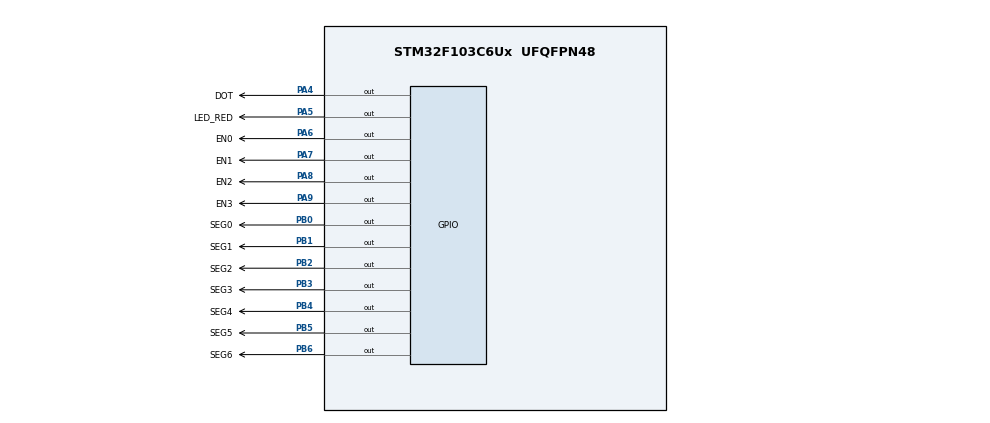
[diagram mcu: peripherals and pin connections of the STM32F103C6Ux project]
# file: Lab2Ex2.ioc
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Mcu.Family=STM32F1
Mcu.Name=STM32F103C6Ux
Mcu.Package=UFQFPN48
NVIC.PriorityGroup=NVIC_PRIORITYGROUP_4
NVIC.TIM2_IRQn=true\:0\:0\:false\:false\:true\:true\:true
PA4.GPIO_Label=DOT
PA4.Signal=GPIO_Output
PA5.GPIO_Label=LED_RED
PA5.Signal=GPIO_Output
PA6.GPIO_Label=EN0
PA6.Signal=GPIO_Output
PA7.GPIO_Label=EN1
PA7.Signal=GPIO_Output
PA8.GPIO_Label=EN2
PA8.Signal=GPIO_Output
PA9.GPIO_Label=EN3
PA9.Signal=GPIO_Output
PB0.GPIO_Label=SEG0
PB0.Signal=GPIO_Output
PB1.GPIO_Label=SEG1
PB1.Signal=GPIO_Output
PB2.GPIO_Label=SEG2
PB2.Signal=GPIO_Output
PB3.GPIO_Label=SEG3
PB3.Signal=GPIO_Output
PB4.GPIO_Label=SEG4
PB4.Signal=GPIO_Output
PB5.GPIO_Label=SEG5
PB5.Signal=GPIO_Output
PB6.GPIO_Label=SEG6
PB6.Signal=GPIO_Output
ProjectManager.HeapSize=0x200
ProjectManager.StackSize=0x400
ProjectManager.TargetToolchain=STM32CubeIDE
RCC.APB1Freq_Value=8000000
RCC.APB2Freq_Value=8000000
TIM2.Period=9
TIM2.Prescaler=7999
VP_SYS_VS_ND.Mode=No_Debug
VP_TIM2_VS_ClockSourceINT.Mode=Internal
board=custom

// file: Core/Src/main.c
/* USER CODE BEGIN Header */
/**
  ******************************************************************************
  * @file           : main.c
  * @brief          : Main program body
  ******************************************************************************
  * @attention
  *
  * <h2><center>&copy; Copyright (c) 2025 STMicroelectronics.
  * All rights reserved.</center></h2>
  *
  * This software component is licensed by ST under BSD 3-Clause license,
  * the "License"; You may not use this file except in compliance with the
  * License. You may obtain a copy of the License at:
  *                        opensource.org/licenses/BSD-3-Clause
  *
  ******************************************************************************
  */
/* USER CODE END Header */
#include "main.h"

TIM_HandleTypeDef htim2;

void SystemClock_Config(void);
static void MX_GPIO_Init(void);
static void MX_TIM2_Init(void);

/* USER CODE BEGIN 0 */

// 7SEG DISPLAY
void display7SEG(int num) {
	switch(num) {
		case 0:
			HAL_GPIO_WritePin(SEG0_GPIO_Port, SEG0_Pin, GPIO_PIN_RESET);
			HAL_GPIO_WritePin(SEG1_GPIO_Port, SEG1_Pin, GPIO_PIN_RESET);
			HAL_GPIO_WritePin(SEG2_GPIO_Port, SEG2_Pin, GPIO_PIN_RESET);
			HAL_GPIO_WritePin(SEG3_GPIO_Port, SEG3_Pin, GPIO_PIN_RESET);
			HAL_GPIO_WritePin(SEG4_GPIO_Port, SEG4_Pin, GPIO_PIN_RESET);
			HAL_GPIO_WritePin(SEG5_GPIO_Port, SEG5_Pin, GPIO_PIN_RESET);
			HAL_GPIO_WritePin(SEG6_GPIO_Port, SEG6_Pin, GPIO_PIN_SET);
			break;
		case 1:
			HAL_GPIO_WritePin(SEG0_GPIO_Port, SEG0_Pin, GPIO_PIN_SET);
			HAL_GPIO_WritePin(SEG1_GPIO_Port, SEG1_Pin, GPIO_PIN_RESET);
			HAL_GPIO_WritePin(SEG2_GPIO_Port, SEG2_Pin, GPIO_PIN_RESET);
			HAL_GPIO_WritePin(SEG3_GPIO_Port, SEG3_Pin, GPIO_PIN_SET);
			HAL_GPIO_WritePin(SEG4_GPIO_Port, SEG4_Pin, GPIO_PIN_SET);
			HAL_GPIO_WritePin(SEG5_GPIO_Port, SEG5_Pin, GPIO_PIN_SET);
			HAL_GPIO_WritePin(SEG6_GPIO_Port, SEG6_Pin, GPIO_PIN_SET);
			break;
		case 2:
			HAL_GPIO_WritePin(SEG0_GPIO_Port, SEG0_Pin, GPIO_PIN_RESET);
			HAL_GPIO_WritePin(SEG1_GPIO_Port, SEG1_Pin, GPIO_PIN_RESET);
			HAL_GPIO_WritePin(SEG2_GPIO_Port, SEG2_Pin, GPIO_PIN_SET);
			HAL_GPIO_WritePin(SEG3_GPIO_Port, SEG3_Pin, GPIO_PIN_RESET);
			HAL_GPIO_WritePin(SEG4_GPIO_Port, SEG4_Pin, GPIO_PIN_RESET);
			HAL_GPIO_WritePin(SEG5_GPIO_Port, SEG5_Pin, GPIO_PIN_SET);
			HAL_GPIO_WritePin(SEG6_GPIO_Port, SEG6_Pin, GPIO_PIN_RESET);
			break;
		case 3:
			HAL_GPIO_WritePin(SEG0_GPIO_Port, SEG0_Pin, GPIO_PIN_RESET);
			HAL_GPIO_WritePin(SEG1_GPIO_Port, SEG1_Pin, GPIO_PIN_RESET);
			HAL_GPIO_WritePin(SEG2_GPIO_Port, SEG2_Pin, GPIO_PIN_RESET);
			HAL_GPIO_WritePin(SEG3_GPIO_Port, SEG3_Pin, GPIO_PIN_RESET);
			HAL_GPIO_WritePin(SEG4_GPIO_Port, SEG4_Pin, GPIO_PIN_SET);
			HAL_GPIO_WritePin(SEG5_GPIO_Port, SEG5_Pin, GPIO_PIN_SET);
			HAL_GPIO_WritePin(SEG6_GPIO_Port, SEG6_Pin, GPIO_PIN_RESET);
			break;
		case 4:
			HAL_GPIO_WritePin(SEG0_GPIO_Port, SEG0_Pin, GPIO_PIN_SET);
			HAL_GPIO_WritePin(SEG1_GPIO_Port, SEG1_Pin, GPIO_PIN_RESET);
			HAL_GPIO_WritePin(SEG2_GPIO_Port, SEG2_Pin, GPIO_PIN_RESET);
			HAL_GPIO_WritePin(SEG3_GPIO_Port, SEG3_Pin, GPIO_PIN_SET);
			HAL_GPIO_WritePin(SEG4_GPIO_Port, SEG4_Pin, GPIO_PIN_SET);
			HAL_GPIO_WritePin(SEG5_GPIO_Port, SEG5_Pin, GPIO_PIN_RESET);
			HAL_GPIO_WritePin(SEG6_GPIO_Port, SEG6_Pin, GPIO_PIN_RESET);
			break;
		case 5:
			HAL_GPIO_WritePin(SEG0_GPIO_Port, SEG0_Pin, GPIO_PIN_RESET);
			HAL_GPIO_WritePin(SEG1_GPIO_Port, SEG1_Pin, GPIO_PIN_SET);
			HAL_GPIO_WritePin(SEG2_GPIO_Port, SEG2_Pin, GPIO_PIN_RESET);
			HAL_GPIO_WritePin(SEG3_GPIO_Port, SEG3_Pin, GPIO_PIN_RESET);
			HAL_GPIO_WritePin(SEG4_GPIO_Port, SEG4_Pin, GPIO_PIN_SET);
			HAL_GPIO_WritePin(SEG5_GPIO_Port, SEG5_Pin, GPIO_PIN_RESET);
			HAL_GPIO_WritePin(SEG6_GPIO_Port, SEG6_Pin, GPIO_PIN_RESET);
			break;
		case 6:
			HAL_GPIO_WritePin(SEG0_GPIO_Port, SEG0_Pin, GPIO_PIN_RESET);
			HAL_GPIO_WritePin(SEG1_GPIO_Port, SEG1_Pin, GPIO_PIN_SET);
			HAL_GPIO_WritePin(SEG2_GPIO_Port, SEG2_Pin, GPIO_PIN_RESET);
			HAL_GPIO_WritePin(SEG3_GPIO_Port, SEG3_Pin, GPIO_PIN_RESET);
			HAL_GPIO_WritePin(SEG4_GPIO_Port, SEG4_Pin, GPIO_PIN_RESET);
			HAL_GPIO_WritePin(SEG5_GPIO_Port, SEG5_Pin, GPIO_PIN_RESET);
			HAL_GPIO_WritePin(SEG6_GPIO_Port, SEG6_Pin, GPIO_PIN_RESET);
			break;
		case 7:
			HAL_GPIO_WritePin(SEG0_GPIO_Port, SEG0_Pin, GPIO_PIN_RESET);
			HAL_GPIO_WritePin(SEG1_GPIO_Port, SEG1_Pin, GPIO_PIN_RESET);
			HAL_GPIO_WritePin(SEG2_GPIO_Port, SEG2_Pin, GPIO_PIN_RESET);
			HAL_GPIO_WritePin(SEG3_GPIO_Port, SEG3_Pin, GPIO_PIN_SET);
			HAL_GPIO_WritePin(SEG4_GPIO_Port, SEG4_Pin, GPIO_PIN_SET);
			HAL_GPIO_WritePin(SEG5_GPIO_Port, SEG5_Pin, GPIO_PIN_SET);
			HAL_GPIO_WritePin(SEG6_GPIO_Port, SEG6_Pin, GPIO_PIN_SET);
			break;
		case 8:
			HAL_GPIO_WritePin(SEG0_GPIO_Port, SEG0_Pin, GPIO_PIN_RESET);
			HAL_GPIO_WritePin(SEG1_GPIO_Port, SEG1_Pin, GPIO_PIN_RESET);
			HAL_GPIO_WritePin(SEG2_GPIO_Port, SEG2_Pin, GPIO_PIN_RESET);
			HAL_GPIO_WritePin(SEG3_GPIO_Port, SEG3_Pin, GPIO_PIN_RESET);
			HAL_GPIO_WritePin(SEG4_GPIO_Port, SEG4_Pin, GPIO_PIN_RESET);
			HAL_GPIO_WritePin(SEG5_GPIO_Port, SEG5_Pin, GPIO_PIN_RESET);
			HAL_GPIO_WritePin(SEG6_GPIO_Port, SEG6_Pin, GPIO_PIN_RESET);
			break;
		case 9:
			HAL_GPIO_WritePin(SEG0_GPIO_Port, SEG0_Pin, GPIO_PIN_RESET);
			HAL_GPIO_WritePin(SEG1_GPIO_Port, SEG1_Pin, GPIO_PIN_RESET);
			HAL_GPIO_WritePin(SEG2_GPIO_Port, SEG2_Pin, GPIO_PIN_RESET);
			HAL_GPIO_WritePin(SEG3_GPIO_Port, SEG3_Pin, GPIO_PIN_RESET);
			HAL_GPIO_WritePin(SEG4_GPIO_Port, SEG4_Pin, GPIO_PIN_SET);
			HAL_GPIO_WritePin(SEG5_GPIO_Port, SEG5_Pin, GPIO_PIN_RESET);
			HAL_GPIO_WritePin(SEG6_GPIO_Port, SEG6_Pin, GPIO_PIN_RESET);
			break;
		default:
			HAL_GPIO_WritePin(SEG0_GPIO_Port, SEG0_Pin, GPIO_PIN_SET);
			HAL_GPIO_WritePin(SEG1_GPIO_Port, SEG1_Pin, GPIO_PIN_SET);
			HAL_GPIO_WritePin(SEG2_GPIO_Port, SEG2_Pin, GPIO_PIN_SET);
			HAL_GPIO_WritePin(SEG3_GPIO_Port, SEG3_Pin, GPIO_PIN_SET);
			HAL_GPIO_WritePin(SEG4_GPIO_Port, SEG4_Pin, GPIO_PIN_SET);
			HAL_GPIO_WritePin(SEG5_GPIO_Port, SEG5_Pin, GPIO_PIN_SET);
			HAL_GPIO_WritePin(SEG6_GPIO_Port, SEG6_Pin, GPIO_PIN_SET);
	};
};

/* USER CODE END 0 */

int main(void)
{

  /* MCU Configuration--------------------------------------------------------*/

  /* Reset of all peripherals, Initializes the Flash interface and the Systick. */
  HAL_Init();

  /* Configure the system clock */
  SystemClock_Config();

  /* Initialize all configured peripherals */
  MX_GPIO_Init();
  MX_TIM2_Init();
  /* USER CODE BEGIN 2 */

  // TIMER INIT FUNCTION
  HAL_TIM_Base_Start_IT(&htim2);

  /* USER CODE END 2 */

  /* Infinite loop */
  while (1)
  {

  }
}

void SystemClock_Config(void)
{
  RCC_OscInitTypeDef RCC_OscInitStruct = {0};
  RCC_ClkInitTypeDef RCC_ClkInitStruct = {0};

  /** Initializes the RCC Oscillators according to the specified parameters
  * in the RCC_OscInitTypeDef structure.
  */
  RCC_OscInitStruct.OscillatorType = RCC_OSCILLATORTYPE_HSI;
  RCC_OscInitStruct.HSIState = RCC_HSI_ON;
  RCC_OscInitStruct.HSICalibrationValue = RCC_HSICALIBRATION_DEFAULT;
  RCC_OscInitStruct.PLL.PLLState = RCC_PLL_NONE;
  if (HAL_RCC_OscConfig(&RCC_OscInitStruct) != HAL_OK)
  {
    Error_Handler();
  }
  /** Initializes the CPU, AHB and APB buses clocks
  */
  RCC_ClkInitStruct.ClockType = RCC_CLOCKTYPE_HCLK|RCC_CLOCKTYPE_SYSCLK
                              |RCC_CLOCKTYPE_PCLK1|RCC_CLOCKTYPE_PCLK2;
  RCC_ClkInitStruct.SYSCLKSource = RCC_SYSCLKSOURCE_HSI;
  RCC_ClkInitStruct.AHBCLKDivider = RCC_SYSCLK_DIV1;
  RCC_ClkInitStruct.APB1CLKDivider = RCC_HCLK_DIV1;
  RCC_ClkInitStruct.APB2CLKDivider = RCC_HCLK_DIV1;

  if (HAL_RCC_ClockConfig(&RCC_ClkInitStruct, FLASH_LATENCY_0) != HAL_OK)
  {
    Error_Handler();
  }
}

static void MX_TIM2_Init(void)
{

  TIM_ClockConfigTypeDef sClockSourceConfig = {0};
  TIM_MasterConfigTypeDef sMasterConfig = {0};

  htim2.Instance = TIM2;
  htim2.Init.Prescaler = 7999;
  htim2.Init.CounterMode = TIM_COUNTERMODE_UP;
  htim2.Init.Period = 9;
  htim2.Init.ClockDivision = TIM_CLOCKDIVISION_DIV1;
  htim2.Init.AutoReloadPreload = TIM_AUTORELOAD_PRELOAD_DISABLE;
  if (HAL_TIM_Base_Init(&htim2) != HAL_OK)
  {
    Error_Handler();
  }
  sClockSourceConfig.ClockSource = TIM_CLOCKSOURCE_INTERNAL;
  if (HAL_TIM_ConfigClockSource(&htim2, &sClockSourceConfig) != HAL_OK)
  {
    Error_Handler();
  }
  sMasterConfig.MasterOutputTrigger = TIM_TRGO_RESET;
  sMasterConfig.MasterSlaveMode = TIM_MASTERSLAVEMODE_DISABLE;
  if (HAL_TIMEx_MasterConfigSynchronization(&htim2, &sMasterConfig) != HAL_OK)
  {
    Error_Handler();
  }

}

static void MX_GPIO_Init(void)
{
  GPIO_InitTypeDef GPIO_InitStruct = {0};

  /* GPIO Ports Clock Enable */
  __HAL_RCC_GPIOA_CLK_ENABLE();
  __HAL_RCC_GPIOB_CLK_ENABLE();

  /*Configure GPIO pin Output Level */
  HAL_GPIO_WritePin(GPIOA, DOT_Pin|LED_RED_Pin|EN0_Pin|EN1_Pin
                          |EN2_Pin|EN3_Pin, GPIO_PIN_RESET);

  /*Configure GPIO pin Output Level */
  HAL_GPIO_WritePin(GPIOB, SEG0_Pin|SEG1_Pin|SEG2_Pin|SEG3_Pin
                          |SEG4_Pin|SEG5_Pin|SEG6_Pin, GPIO_PIN_RESET);

  /*Configure GPIO pins : DOT_Pin LED_RED_Pin EN0_Pin EN1_Pin
                           EN2_Pin EN3_Pin */
  GPIO_InitStruct.Pin = DOT_Pin|LED_RED_Pin|EN0_Pin|EN1_Pin
                          |EN2_Pin|EN3_Pin;
  GPIO_InitStruct.Mode = GPIO_MODE_OUTPUT_PP;
  GPIO_InitStruct.Pull = GPIO_NOPULL;
  GPIO_InitStruct.Speed = GPIO_SPEED_FREQ_LOW;
  HAL_GPIO_Init(GPIOA, &GPIO_InitStruct);

  /*Configure GPIO pins : SEG0_Pin SEG1_Pin SEG2_Pin SEG3_Pin
                           SEG4_Pin SEG5_Pin SEG6_Pin */
  GPIO_InitStruct.Pin = SEG0_Pin|SEG1_Pin|SEG2_Pin|SEG3_Pin
                          |SEG4_Pin|SEG5_Pin|SEG6_Pin;
  GPIO_InitStruct.Mode = GPIO_MODE_OUTPUT_PP;
  GPIO_InitStruct.Pull = GPIO_NOPULL;
  GPIO_InitStruct.Speed = GPIO_SPEED_FREQ_LOW;
  HAL_GPIO_Init(GPIOB, &GPIO_InitStruct);

}

/* USER CODE BEGIN 4 */

int counter = 100;
void HAL_TIM_PeriodElapsedCallback(TIM_HandleTypeDef *htim)
{
	counter--;
	if(counter <= 0)
	{
		counter = 100;

		// DOT ON - OFF
		HAL_GPIO_TogglePin(LED_RED_GPIO_Port, LED_RED_Pin);
		HAL_GPIO_TogglePin(DOT_GPIO_Port, DOT_Pin);

		// 1ST DIGIT (EN0)
		display7SEG(1);
		HAL_GPIO_WritePin(EN0_GPIO_Port, EN0_Pin, GPIO_PIN_RESET);
		HAL_Delay(500);
		HAL_GPIO_WritePin(EN0_GPIO_Port, EN0_Pin, GPIO_PIN_SET);

		// 2ND DIGIT (EN1)
		display7SEG(2);
		HAL_GPIO_WritePin(EN1_GPIO_Port, EN1_Pin, GPIO_PIN_RESET);
		HAL_Delay(500);
		HAL_GPIO_WritePin(EN1_GPIO_Port, EN1_Pin, GPIO_PIN_SET);

		// DOT OFF
		HAL_GPIO_TogglePin(LED_RED_GPIO_Port, LED_RED_Pin);
		HAL_GPIO_TogglePin(DOT_GPIO_Port, DOT_Pin);

		// 3RD DIGIT (EN2)
		display7SEG(3);
		HAL_GPIO_WritePin(EN2_GPIO_Port, EN2_Pin, GPIO_PIN_RESET);
		HAL_Delay(500);
		HAL_GPIO_WritePin(EN2_GPIO_Port, EN2_Pin, GPIO_PIN_SET);

		// 4TH DIGIT (EN3)
		display7SEG(0);
		HAL_GPIO_WritePin(EN3_GPIO_Port, EN3_Pin, GPIO_PIN_RESET);
		HAL_Delay(500);
		HAL_GPIO_WritePin(EN3_GPIO_Port, EN3_Pin, GPIO_PIN_SET);
	}
}
/* USER CODE END 4 */

void Error_Handler(void)
{
  __disable_irq();
  while (1)
  {
  }
}

/************************ (C) COPYRIGHT STMicroelectronics *****END OF FILE****/
